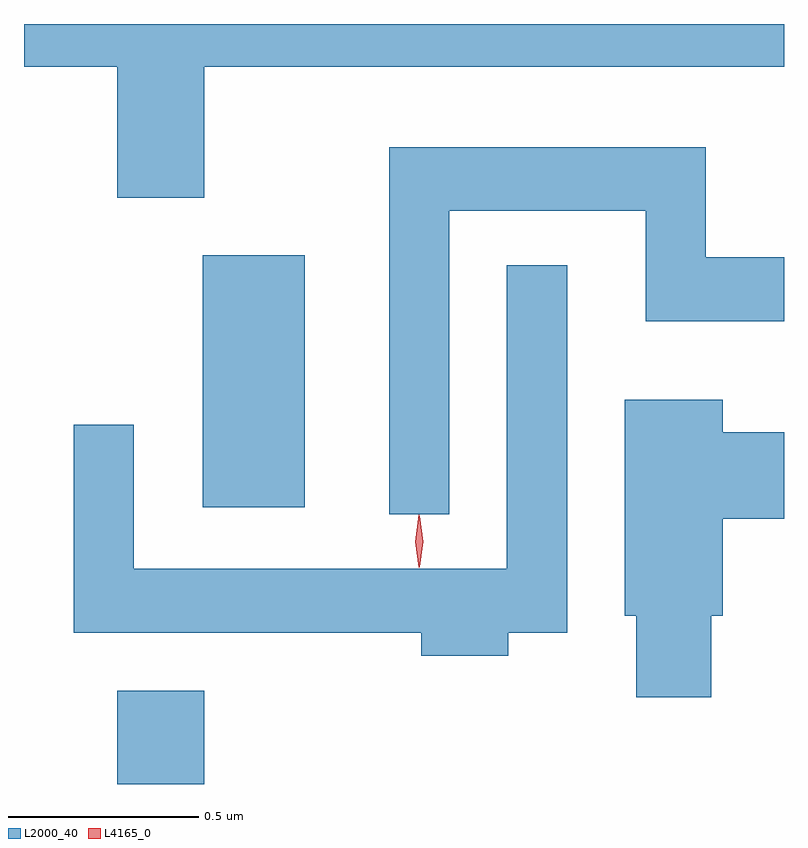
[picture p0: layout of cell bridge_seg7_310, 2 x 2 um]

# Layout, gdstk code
import gdstk
lib = gdstk.Library(unit=1e-6, precision=1e-09)
def R(c, l, rs):  # rectangles x0, y0, x1, y1
    for r in rs: c.add(gdstk.rectangle(r[:2], r[2:], *l))
def P(c, l, *ps):  # polygons
    for p in ps: c.add(gdstk.Polygon(p, *l))
L2000_40 = (2000, 40)
L4165_0 = (4165, 0)

bridge_seg7_310 = lib.new_cell('bridge_seg7_310')
R(bridge_seg7_310, L2000_40, [(1339.101,1783.468,1339.329,1783.714), (1339.326,1784.196,1339.594,1784.859)])
P(bridge_seg7_310, L2000_40, [(1339.329,1785.356),(1340.855,1785.356),(1340.855,1785.468),(1338.855,1785.468),(1338.855,1785.356),(1339.101,1785.356),(1339.101,1785.011),(1339.329,1785.011)],
  [(1339.974,1784.976),(1340.491,1784.976),(1340.491,1784.686),(1340.855,1784.686),(1340.855,1784.854),(1340.649,1784.854),(1340.649,1785.144),(1339.816,1785.144),(1339.816,1784.178),(1339.974,1784.178)],
  [(1340.129,1783.866),(1340.284,1783.866),(1340.284,1784.833),(1340.126,1784.833),(1340.126,1784.034),(1339.144,1784.034),(1339.144,1784.413),(1338.986,1784.413),(1338.986,1783.866),(1339.901,1783.866),(1339.901,1783.806),(1340.129,1783.806)],
  [(1340.664,1783.911),(1340.694,1783.911),(1340.694,1784.166),(1340.855,1784.166),(1340.855,1784.394),(1340.694,1784.394),(1340.694,1784.479),(1340.436,1784.479),(1340.436,1783.911),(1340.466,1783.911),(1340.466,1783.696),(1340.664,1783.696)])
P(bridge_seg7_310, L4165_0, [(1339.895,1784.037),(1339.894,1784.038),(1339.885,1784.106),(1339.894,1784.176),(1339.895,1784.176),(1339.895,1784.176),(1339.905,1784.106),(1339.895,1784.038)],
  [(1339.895,1784.04),(1339.885,1784.106),(1339.894,1784.172),(1339.895,1784.173),(1339.896,1784.172),(1339.905,1784.106),(1339.896,1784.04),(1339.896,1784.04)])

lib.write_gds('bridge_seg7_310.gds')
